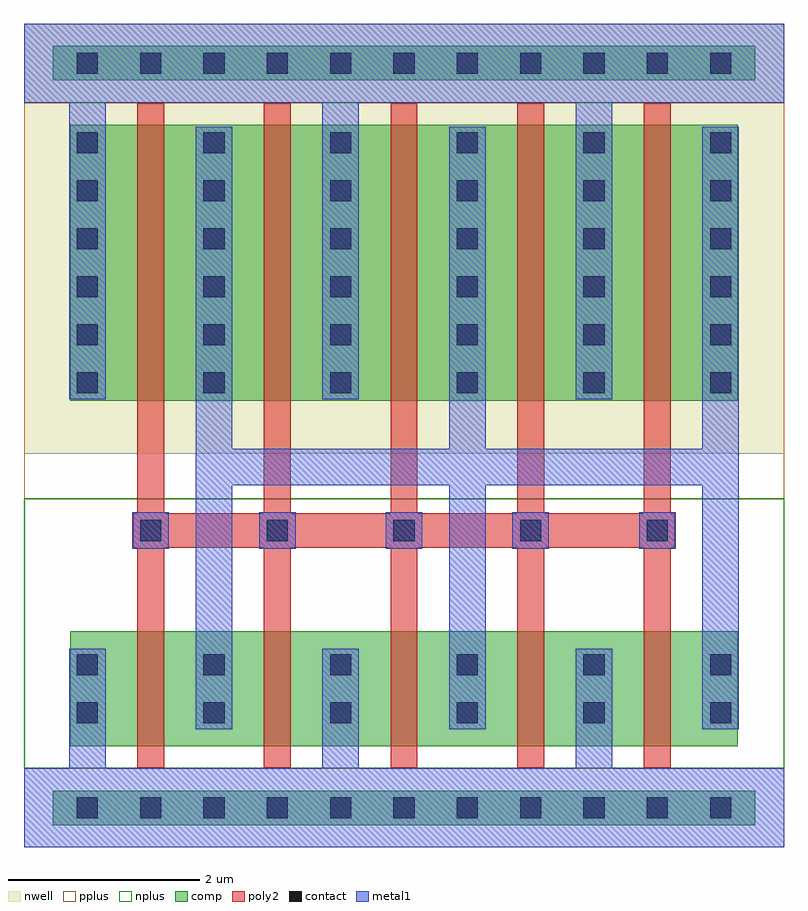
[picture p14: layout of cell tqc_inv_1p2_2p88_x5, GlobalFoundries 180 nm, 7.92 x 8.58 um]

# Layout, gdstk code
import gdstk
lib = gdstk.Library(unit=1e-6, precision=1e-09)
def R(c, l, rs):  # rectangles x0, y0, x1, y1
    for r in rs: c.add(gdstk.rectangle(r[:2], r[2:], *l))
def A(c, l, x, y, w, h, nx, ny, dx, dy):  # array of equal rectangles
    R(c, l, [(x+i*dx, y+j*dy, x+i*dx+w, y+j*dy+h) for i in range(nx) for j in range(ny)])
nwell = (21, 0)
comp = (22, 0)
poly2 = (30, 0)
pplus = (31, 0)
nplus = (32, 0)
contact = (33, 0)
metal1 = (34, 0)

tqc_inv_1p2_2p88_x5 = lib.new_cell('tqc_inv_1p2_2p88_x5')
R(tqc_inv_1p2_2p88_x5, nwell, [(0,4.1,7.92,8.58)])
R(tqc_inv_1p2_2p88_x5, comp, [(0.3,0.23,7.62,0.59), (0.48,1.05,7.44,2.25), (0.48,4.65,7.44,7.53), (0.3,7.99,7.62,8.35)])
A(tqc_inv_1p2_2p88_x5, poly2, 1.18, 0.83, 0.28, 6.92, 5, 1, 1.32, 0)
A(tqc_inv_1p2_2p88_x5, poly2, 1.14, 3.12, 0.36, 0.36, 5, 1, 1.32, 0)
A(tqc_inv_1p2_2p88_x5, poly2, 1.32, 3.12, 1.32, 0.36, 4, 1, 1.32, 0)
R(tqc_inv_1p2_2p88_x5, pplus, [(0,0,7.92,0.82), (0,3.63,7.92,7.76)])
R(tqc_inv_1p2_2p88_x5, nplus, [(0,0.82,7.92,3.63), (0,7.76,7.92,8.58)])
A(tqc_inv_1p2_2p88_x5, contact, 0.55, 0.3, 0.22, 0.22, 11, 2, 0.66, 7.76)
A(tqc_inv_1p2_2p88_x5, contact, 0.55, 1.29, 0.22, 0.22, 6, 2, 1.32, 0.5)
A(tqc_inv_1p2_2p88_x5, contact, 1.21, 3.19, 0.22, 0.22, 5, 1, 1.32, 0)
A(tqc_inv_1p2_2p88_x5, contact, 0.55, 4.73, 0.22, 0.22, 6, 6, 1.32, 0.5)
A(tqc_inv_1p2_2p88_x5, metal1, 0.47, 0, 0.38, 2.07, 3, 1, 2.64, 0)
A(tqc_inv_1p2_2p88_x5, metal1, 1.79, 1.23, 0.38, 0.84, 3, 1, 2.64, 0)
A(tqc_inv_1p2_2p88_x5, metal1, 1.79, 1.97, 0.38, 2.18, 3, 1, 2.64, 0)
A(tqc_inv_1p2_2p88_x5, metal1, 1.13, 3.11, 0.38, 0.38, 5, 1, 1.32, 0)
A(tqc_inv_1p2_2p88_x5, metal1, 1.79, 3.77, 0.38, 1, 3, 1, 2.64, 0)
A(tqc_inv_1p2_2p88_x5, metal1, 0.47, 4.67, 0.38, 3.91, 3, 1, 2.64, 0)
A(tqc_inv_1p2_2p88_x5, metal1, 1.79, 4.67, 0.38, 2.84, 3, 1, 2.64, 0)
R(tqc_inv_1p2_2p88_x5, metal1, [(0,0,7.92,0.82), (1.79,3.77,7.45,4.15), (0,7.76,7.92,8.58)])

lib.write_gds('tqc_inv_1p2_2p88_x5.gds')
